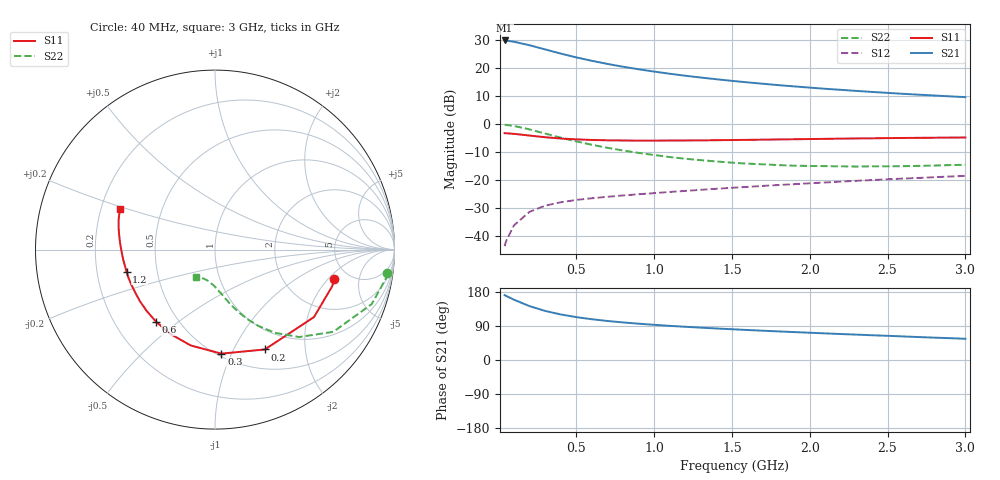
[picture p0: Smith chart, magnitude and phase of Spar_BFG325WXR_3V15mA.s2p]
! Filename: 315BFG325WXR.s2p
! Title: BFG325WXR,RN20042071,Lot:TT3899C,B:Y13641,Sl.:1
! Bias: VCE=2.999V; IC=14.88mA;
! Company: NXP Semiconductors NL
! User: Q&R DSC-N
! Measure time: 29 Mar 2004 / 13:40:46
#  MHz  S  MA  R 50
! Freq  S11  S21  S12  S22  :
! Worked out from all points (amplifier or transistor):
!   32 points, 40 MHz to 3 GHz, reference 50 ohm
!   highest |S21| = 30.0 dB at 40 MHz (marker M1)
!   |S21| within 3 dB of that: start of sweep to 286.3 MHz
!   unconditionally stable (mu >= 1): 1.795 GHz to end of sweep
!   at 400 MHz: K = 0.42, MSG = 26.7 dB, |S12| = -28.0 dB
!   at 1.5 GHz: K = 0.95, MSG = 19.2 dB, |S12| = -22.9 dB
!   at 3 GHz: K = 1.05, MAG = 12.7 dB, |S12| = -18.6 dB
!   S11 on the Smith chart (normalised r, x): 40 MHz: 3.79, -2.38; 200 MHz: 0.74, -1.34; 300 MHz: 0.52, -0.92; 600 MHz: 0.38, -0.42; 1.2 GHz: 0.33, -0.11; 3 GHz: 0.28, +0.19
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40  0.6856 -14.0  31.51 171.1  0.006476 83.4  0.9699 -7.8
50  0.6838 -17.5  31.28 169.0  0.008008 81.7  0.965 -9.7
100  0.6675 -34.2  29.89 159.1  0.01529 74.4  0.9244 -19.2
200  0.6219 -63.5  25.87 142.2  0.02672 62.8  0.8025 -34.8
300  0.5807 -86.5  21.79 129.6  0.03441 55.3  0.676 -46.1
400  0.551 -104.2  18.36 120.2  0.03963 50.9  0.5706 -54.3
500  0.5316 -118.1  15.68 113.2  0.04363 48.6  0.4889 -60.4
600  0.519 -129.1  13.61 107.6  0.04679 47.4  0.4258 -65.2
700  0.5116 -138.1  11.97 103.0  0.04967 46.9  0.3758 -69.0
800  0.5076 -145.5  10.66 99.2  0.0525 46.9  0.3362 -72.3
900  0.5048 -151.8  9.603 95.8  0.05515 47.2  0.3046 -75.3
1000  0.5052 -157.2  8.722 92.8  0.05782 47.6  0.2788 -78.0
1100  0.5069 -161.8  7.984 90.1  0.06066 48.1  0.2564 -80.6
1200  0.508 -166.0  7.354 87.7  0.06336 48.6  0.239 -83.4
1300  0.5099 -169.8  6.818 85.4  0.0662 49.1  0.2253 -86.1
1400  0.5137 -173.2  6.362 83.2  0.06918 49.5  0.2137 -88.4
1600  0.5209 -179.0  5.592 79.1  0.07477 50.3  0.1952 -93.9
1800  0.5301 176.1  4.98 75.5  0.08077 51.0  0.184 -98.7
2100  0.5432 170.0  4.286 70.2  0.0898 51.4  0.1761 -106.2
2300  0.552 166.7  3.926 67.0  0.09617 51.6  0.1733 -110.7
2600  0.5633 162.2  3.484 62.2  0.1055 51.6  0.1759 -116.8
3000  0.5738 157.0  3.039 56.0  0.1178 50.7  0.1862 -123.8
